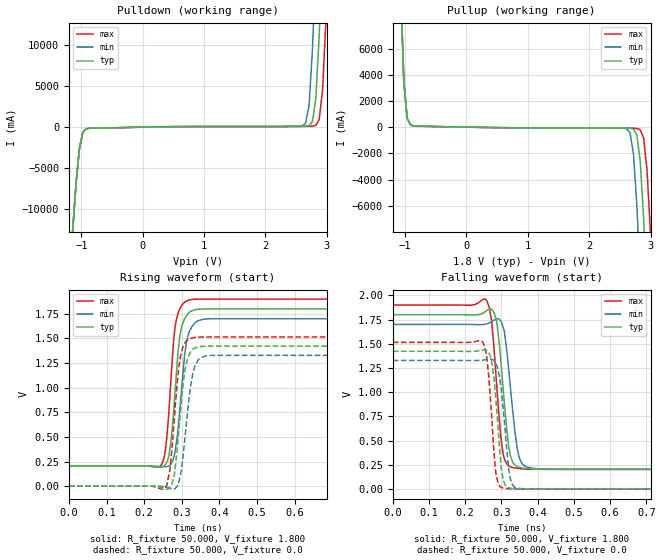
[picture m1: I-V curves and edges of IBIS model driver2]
| IBIS file created by Layout Workbench Version 24.1.0.10141.541387   000
| Cadence Design Systems, Inc. 2011
| Simulator:  ****** PrimeSim HSPICE -- T-2022.06 win64 (May 20 2022 7637141)
[IBIS ver] 3.2
[File name]  t2b_0616.ibs
[File Rev]  1.0
[Date]   Jun 16,2021
|   Component invchain
[Component] invchain
[Manufacturer] Manufacturer name
[Package]
| variable   typ   min   max
R_pkg   0.0   0.0   0.0
L_pkg   0.0H   0.0H   0.0H
C_pkg   0.0F   0.0F   0.0F
[Pin]  signal_name   model_name   R_pin   L_pin   C_pin
PAD   PAD   driver2
|IN   IN   dummy
VCCQ   VCCQ   Power
VSSQ   VSSQ   Gnd
| Models and submodels in the file (1): driver2 (Output)
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|   Model driver2
[Model] driver2
Model_type Output
Polarity   Non-Inverting
Enable   Active-High
Vmeas =  0.900V
C_comp   0.468pF   NA   NA
[Temperature Range]   27.000   27.000   27.000
[Voltage Range]   1.800V   1.700V   1.900V
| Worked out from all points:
|   slope of the pulldown table from 0 to 0.27 V, typ, clamps not added: 6.8 ohm
|   slope of the pullup table from 0 to 0.27 V, typ, clamps not added: 12.6 ohm
|   rising waveform, R_fixture 50.000, V_fixture 1.800: 20-80 % time 20.5ps typ, 22.2ps min, 19.2ps max; typ from 0.204 V to 1.8 V
|   rising waveform, R_fixture 50.000, V_fixture 0.0: 20-80 % time 21.6ps typ, 23.3ps min, 20.4ps max; typ from 0 V to 1.42 V
|   falling waveform, R_fixture 50.000, V_fixture 1.800: 20-80 % time 22.9ps typ, 24.8ps min, 21.3ps max; typ from 1.8 V to 0.204 V
|   falling waveform, R_fixture 50.000, V_fixture 0.0: 20-80 % time 18.4ps typ, 20.3ps min, 17.5ps max; typ from 1.42 V to 0 V
[Pulldown]
|Voltage   I(typ)   I(min)   I(max)
-1.8V     -87.88A    -87.88A    -87.88A
-1.14V    -12.56A    -12.55A    -12.56A
-1.03V    -2.573A    -2.57A     -2.577A
-920mV    -199.6mA   -194.1mA   -204.7mA
2.6V      93.6mA     140.8mA    96.21mA
2.71V     174.4mA    2.664A     103.8mA
2.765V    684.3mA    9.453A     119.2mA
2.82V     3.512A     19.87A     219.2mA
2.875V    11.22A     30.52A     941.1mA
2.93V     21.82A     41.16A     4.539A
2.985V    32.46A     51.8A      13.12A
3.6V      151.5A     170.8A     132.1A
[Pullup]
|Voltage   I(typ)   I(min)   I(max)
-1.8V     151.4A     151.4A     151.4A
-1.075V   11.17A     11.17A     11.17A
-965mV    666.5mA    664.9mA    668mA
-910mV    159.3mA    157.6mA    160.7mA
2.61V     -77.35mA   -124.3mA   -78.87mA
2.72V     -154.5mA   -2.028A    -85.61mA
2.775V    -598.8mA   -5.904A    -100.3mA
2.83V     -2.569A    -11.47A    -194.6mA
2.885V    -6.827A    -17.72A    -805mA
2.94V     -12.6A     -24A       -3.192A
2.995V    -18.87A    -30.28A    -7.799A
3.6V      -87.92A    -99.33A    -76.52A
[Ramp]
| variable   typ   min   max
dV/dt_r   0.853/22.825p   0.797/24.078p   0.909/21.964p
dV/dt_f   0.957/23.718p   0.897/25.683p   1.017/22.228p
R_load = 50.000
[Rising Waveform]
R_fixture= 50.000
V_fixture= 1.800
V_fixture_min= 1.700
V_fixture_max= 1.900
|time   V(typ)   V(min)   V(max)
0s        204.2mV    204.7mV    204.8mV
246ps     196mV      196.5mV    218.8mV
255ps     211.6mV    195.8mV    329.3mV
266ps     318.4mV    204.9mV    775.1mV
277ps     692.1mV    268.2mV    1.417V
285ps     1.108V     425.9mV    1.678V
298ps     1.589V     920.1mV    1.824V
308ps     1.703V     1.349V     1.869V
321ps     1.768V     1.576V     1.892V
1.7ns     1.8V       1.7V       1.9V
[Rising Waveform]
R_fixture= 50.000
V_fixture= 0.0
V_fixture_min= 0.0
V_fixture_max= 0.0
|time   V(typ)   V(min)   V(max)
0s        13.08nV    12.76nV    13.48nV
256ps     -28.19mV   -8.336mV   -14.27mV
269ps     -11.79mV   -24.77mV   187.1mV
280ps     113.4mV    -28.28mV   678.6mV
291ps     514.8mV    18.24mV    1.167V
309ps     1.188V     511.2mV    1.458V
330ps     1.392V     1.154V     1.507V
345ps     1.415V     1.288V     1.514V
386ps     1.422V     1.328V     1.515V
1.7ns     1.422V     1.328V     1.515V
[Falling Waveform]
R_fixture= 50.000
V_fixture= 1.800
V_fixture_min= 1.700
V_fixture_max= 1.900
|time   V(typ)   V(min)   V(max)
0s        1.8V       1.7V       1.9V
259ps     1.842V     1.705V     1.947V
273ps     1.856V     1.729V     1.735V
287ps     1.73V      1.758V     1.069V
307ps     939.1mV    1.645V     331.7mV
321ps     419.6mV    1.2V       235.9mV
331ps     280.5mV    812.2mV    223.1mV
350ps     224.6mV    317mV      212.1mV
388ps     207.2mV    215.4mV    205.7mV
1.7ns     204.2mV    204.7mV    204.8mV
[Falling Waveform]
R_fixture= 50.000
V_fixture= 0.0
V_fixture_min= 0.0
V_fixture_max= 0.0
|time   V(typ)   V(min)   V(max)
0s        1.422V     1.328V     1.515V
249ps     1.435V     1.332V     1.515V
260ps     1.43V      1.337V     1.347V
275ps     1.273V     1.337V     632.4mV
286ps     864.8mV    1.283V     136.7mV
297ps     321.8mV    1.097V     24.58mV
306ps     84.66mV    790mV      10.82mV
323ps     11.46mV    138.1mV    4.773mV
346ps     3.609mV    9.588mV    1.452mV
1.7ns     12.97nV    12.76nV    13.44nV
